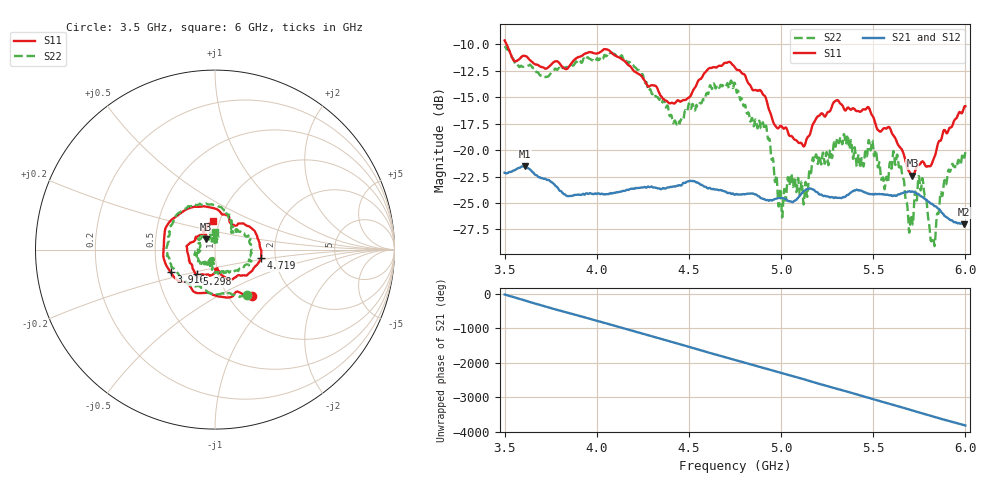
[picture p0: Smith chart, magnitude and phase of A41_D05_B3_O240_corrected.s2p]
! Created with skrf 1.9.0 (http://scikit-rf.org).
# Hz S RI R 50.0
!freq ReS11 ImS11 ReS21 ImS21 ReS12 ImS12 ReS22 ImS22
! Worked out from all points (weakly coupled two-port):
!   1601 points, 3.5 GHz to 6 GHz, reference 50 ohm
!   highest |S21| = -21.53 dB at 3.611 GHz (marker M1); lowest = -27.0 dB at 5.994 GHz (marker M2)
!   lowest |S11| = -22.4 dB at 5.713 GHz (marker M3), VSWR 1.16, Z = 45.1 + j5.31 ohm
!   |S11| at or under -10 dB: 3.511 GHz to end of sweep
!   |S22| runs from -29.1 to -10.2 dB; largest |S21 - S12| = 0.0011
!   S11 on the Smith chart (normalised r, x): 3.5 GHz: 1.28, -0.74; 3.916 GHz: 0.59, -0.16; 4.719 GHz: 1.68, -0.17; 5.298 GHz: 0.79, -0.22; 6 GHz: 0.93, +0.31
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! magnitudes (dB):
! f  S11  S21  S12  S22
! 3.5 GHz  -9.6  -22.1  -22.1  -10.2
! 3.611 GHz  -11.1  -21.5  -21.5  -12.0
! 3.916 GHz  -11.1  -24.2  -24.2  -11.8
! 3.917 GHz  -11.1  -24.2  -24.2  -11.8
! 4.127 GHz  -11.3  -23.9  -23.9  -11.2
! 4.334 GHz  -14.4  -23.6  -23.5  -15.1
! 4.441 GHz  -15.3  -23.4  -23.3  -17.3
! 4.719 GHz  -11.7  -24.0  -24.0  -14.1
! 4.75 GHz  -12.2  -24.2  -24.1  -13.7
! 4.912 GHz  -14.9  -24.7  -24.6  -18.0
! 4.997 GHz  -17.7  -24.5  -24.5  -23.8
! 5.131 GHz  -19.4  -23.8  -23.7  -23.2
! 5.167 GHz  -17.8  -23.7  -23.6  -21.4
! 5.298 GHz  -15.3  -24.5  -24.4  -19.4
! 5.584 GHz  -17.8  -24.3  -24.2  -22.2
! 5.639 GHz  -19.6  -24.2  -24.1  -21.6
! 5.713 GHz  -22.4  -23.9  -23.8  -26.9
! 5.758 GHz  -21.2  -24.4  -24.2  -23.8
! 5.825 GHz  -21.0  -25.2  -25.1  -28.3
! 5.897 GHz  -18.4  -26.3  -26.2  -23.1
! 5.994 GHz  -15.9  -27.0  -26.9  -20.7
! 6 GHz  -15.9  -27.0  -26.9  -20.1
